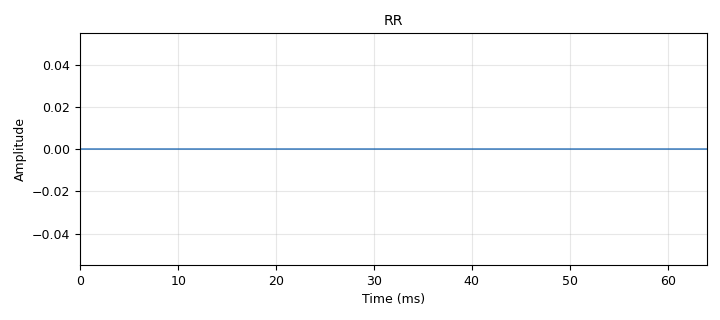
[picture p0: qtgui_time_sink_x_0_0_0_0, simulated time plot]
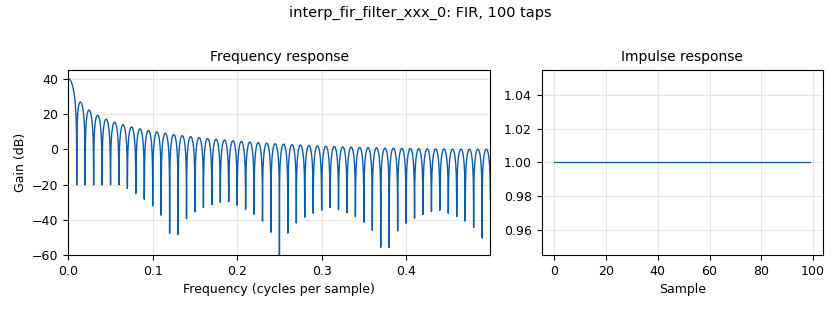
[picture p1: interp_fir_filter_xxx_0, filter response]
options:
  parameters:
    author: raksh
    generate_options: qt_gui
    id: BSP_TDRRR
    output_language: python
    title: Not titled yet
  states: {}

blocks:
- name: samp_rate
  id: variable
  parameters:
    value: '32000'
  states: {}
- name: blocks_throttle2_0_0_0_0
  id: blocks_throttle2
  parameters:
    samples_per_second: samp_rate
    type: float
  states: {}
- name: blocks_vector_source_x_0
  id: blocks_vector_source_x
  parameters:
    repeat: 'False'
    type: float
    vector: '[1]*100 + [0]*3900'
  states: {}
- name: interp_fir_filter_xxx_0
  id: interp_fir_filter_xxx
  parameters:
    interp: '1'
    taps: '[1]*100'
    type: fff
  states: {}
- name: qtgui_time_sink_x_0_0_0_0
  id: qtgui_time_sink_x
  parameters:
    autoscale: 'True'
    name: '"RR"'
    size: '2048'
    srate: samp_rate
    type: float
  states: {}

connections:
- [blocks_throttle2_0_0_0_0, '0', interp_fir_filter_xxx_0, '0']
- [blocks_vector_source_x_0, '0', blocks_throttle2_0_0_0_0, '0']
- [interp_fir_filter_xxx_0, '0', qtgui_time_sink_x_0_0_0_0, '0']

metadata:
  file_format: 1
  grc_version: 3.10.11.0
